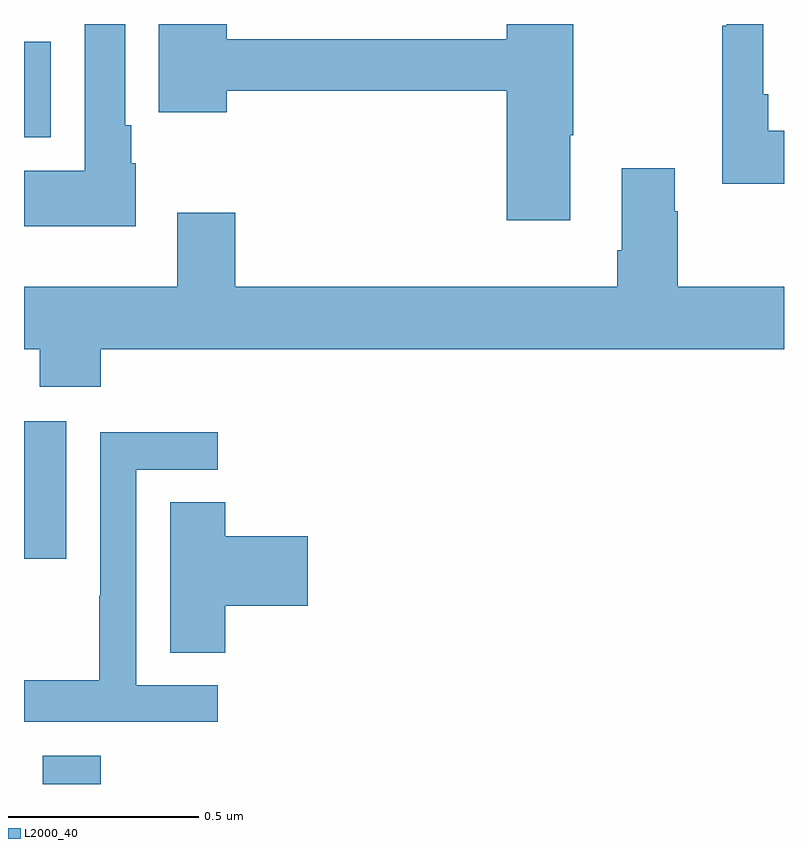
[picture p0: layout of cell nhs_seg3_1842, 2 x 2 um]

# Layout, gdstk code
import gdstk
lib = gdstk.Library(unit=1e-6, precision=1e-09)
def R(c, l, rs):  # rectangles x0, y0, x1, y1
    for r in rs: c.add(gdstk.rectangle(r[:2], r[2:], *l))
def P(c, l, *ps):  # polygons
    for p in ps: c.add(gdstk.Polygon(p, *l))
L2000_40 = (2000, 40)

nhs_seg3_1842 = lib.new_cell('nhs_seg3_1842')
R(nhs_seg3_1842, L2000_40, [(133.049,738.4,133.202,738.475), (133,738.993,133.111,739.354), (133,740.102,133.071,740.353)])
P(nhs_seg3_1842, L2000_40, [(134.437,740.107),(134.445,740.107),(134.445,740.4),(134.27,740.4),(134.27,740.36),(133.534,740.36),(133.534,740.4),(133.355,740.4),(133.355,740.168),(133.534,740.168),(133.534,740.224),(134.27,740.224),(134.27,739.884),(134.437,739.884)],
  [(135,740.119),(134.959,740.119),(134.959,740.215),(134.946,740.215),(134.946,740.4),(134.849,740.4),(134.849,740.395),(134.838,740.395),(134.838,739.979),(135,739.979)],
  [(133.294,740.034),(133.282,740.034),(133.282,740.134),(133.267,740.134),(133.267,740.4),(133.16,740.4),(133.16,740.014),(133,740.014),(133,739.868),(133.294,739.868)],
  [(133.202,739.544),(135,739.544),(135,739.708),(134.721,739.708),(134.721,739.907),(134.713,739.907),(134.713,740.02),(134.573,740.02),(134.573,739.804),(134.561,739.804),(134.561,739.708),(133.556,739.708),(133.556,739.903),(133.403,739.903),(133.403,739.708),(133,739.708),(133,739.544),(133.042,739.544),(133.042,739.445),(133.202,739.445)],
  [(133.51,738.66),(133.296,738.66),(133.296,739.227),(133.51,739.227),(133.51,739.326),(133.2,739.326),(133.2,738.896),(133.198,738.896),(133.198,738.673),(133,738.673),(133,738.564),(133.51,738.564)],
  [(133.529,738.869),(133.747,738.869),(133.747,739.052),(133.529,739.052),(133.529,739.142),(133.385,739.142),(133.385,738.745),(133.529,738.745)])

lib.write_gds('nhs_seg3_1842.gds')
